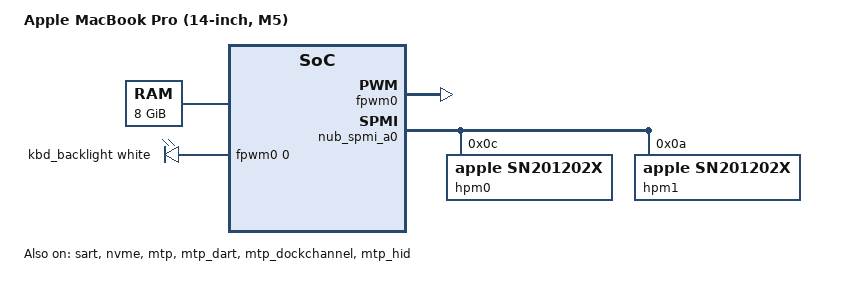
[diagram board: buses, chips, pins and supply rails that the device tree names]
// SPDX-License-Identifier: GPL-2.0+ OR MIT
/*
 * Apple MacBook Pro (14-inch, M5)
 *
 * target-type: J704 (Mac17,2)
 *
 * Minimal bring-up tree: CPUs, AIC, timer, watchdog and the boot
 * framebuffer (filled in by m1n1). Everything else is TODO.
 */

/dts-v1/;

#include "t8142.dtsi"
#include <dt-bindings/gpio/gpio.h>
#include <dt-bindings/leds/common.h>

/ {
	compatible = "apple,j704", "apple,t8142", "apple,arm-platform";
	model = "Apple MacBook Pro (14-inch, M5)";

	aliases {
		serial0 = &serial0;
		keyboard = &keyboard;
	};

	chosen {
		#address-cells = <2>;
		#size-cells = <2>;
		ranges;

		bootargs = "earlycon console=tty0 loglevel=8";

		framebuffer0: framebuffer@0 {
			compatible = "apple,simple-framebuffer", "simple-framebuffer";
			reg = <0 0 0 0>; /* To be filled by loader */
			/* Format properties will be added by loader */
			status = "disabled";
		};
	};

	memory@10000000000 {
		device_type = "memory";
		reg = <0x100 0 0x2 0>; /* To be filled by loader */
	};

	reserved-memory {
		#address-cells = <2>;
		#size-cells = <2>;
		ranges;
		/* To be filled by loader */
	};

	/* ADT fpwm0/kbd-backlight: default-hz 25000 */
	led-controller {
		compatible = "pwm-leds";
		led-0 {
			pwms = <&fpwm0 0 40000>;
			label = "kbd_backlight";
			function = LED_FUNCTION_KBD_BACKLIGHT;
			color = <LED_COLOR_ID_WHITE>;
			max-brightness = <255>;
			default-state = "keep";
		};
	};
};

/* Internal SSD (#191). Read-only use until the owner decides otherwise. */
&ans_mbox {
	status = "okay";
};

&sart {
	status = "okay";
};

&nvme {
	status = "okay";
};

/*
 * Keyboard and trackpad (MTP over DockChannel, #200). The trackpad needs
 * its multi-touch firmware (asahi-installer's converter output for the
 * j704 Multitouch.im4p); the keyboard does not.
 */
&mtp {
	status = "okay";
};

&mtp_mbox {
	status = "okay";
};

&mtp_dart {
	status = "okay";
};

&mtp_dockchannel {
	status = "okay";
};

&mtp_hid {
	status = "okay";

	multi-touch {
		firmware-name = "apple/tpmtfw-j704.bin";
		/* ADT function-afe-reset: SMC key gP1c, active low */
		reset-gpios = <&smc_gpio 28 GPIO_ACTIVE_LOW>;
	};

	keyboard: keyboard {
		hid-country-code = <0>;
		apple,keyboard-layout-id = <0>;
	};

	stm {
	};

	actuator {
	};

	tp-accel {
	};

	mtp {
	};
};

&fpwm0 {
	status = "okay";
};

/*
 * Left-side USB-C ports' SN201202x USB-PD controllers (ADT hpm0 left-front
 * USID 0xc, hpm1 left-rear USID 0xa). No interrupts: the generation 4 SPMI
 * controller is polled, and so is the PD controller. Not linked to the DWC3s
 * or PHYs yet (status reporting only).
 */
&nub_spmi_a0 {
	status = "okay";

	hpm0: usb-pd@c {
		compatible = "apple,sn201202x";
		reg = <0xc SPMI_USID>;

		typec0: connector {
			compatible = "usb-c-connector";
			label = "USB-C Left-front";
			power-role = "dual";
			data-role = "dual";
		};
	};

	hpm1: usb-pd@a {
		compatible = "apple,sn201202x";
		reg = <0xa SPMI_USID>;

		typec1: connector {
			compatible = "usb-c-connector";
			label = "USB-C Left-back";
			power-role = "dual";
			data-role = "dual";
		};
	};
};

#include "hwmon-common.dtsi"
#include "hwmon-laptop.dtsi"
